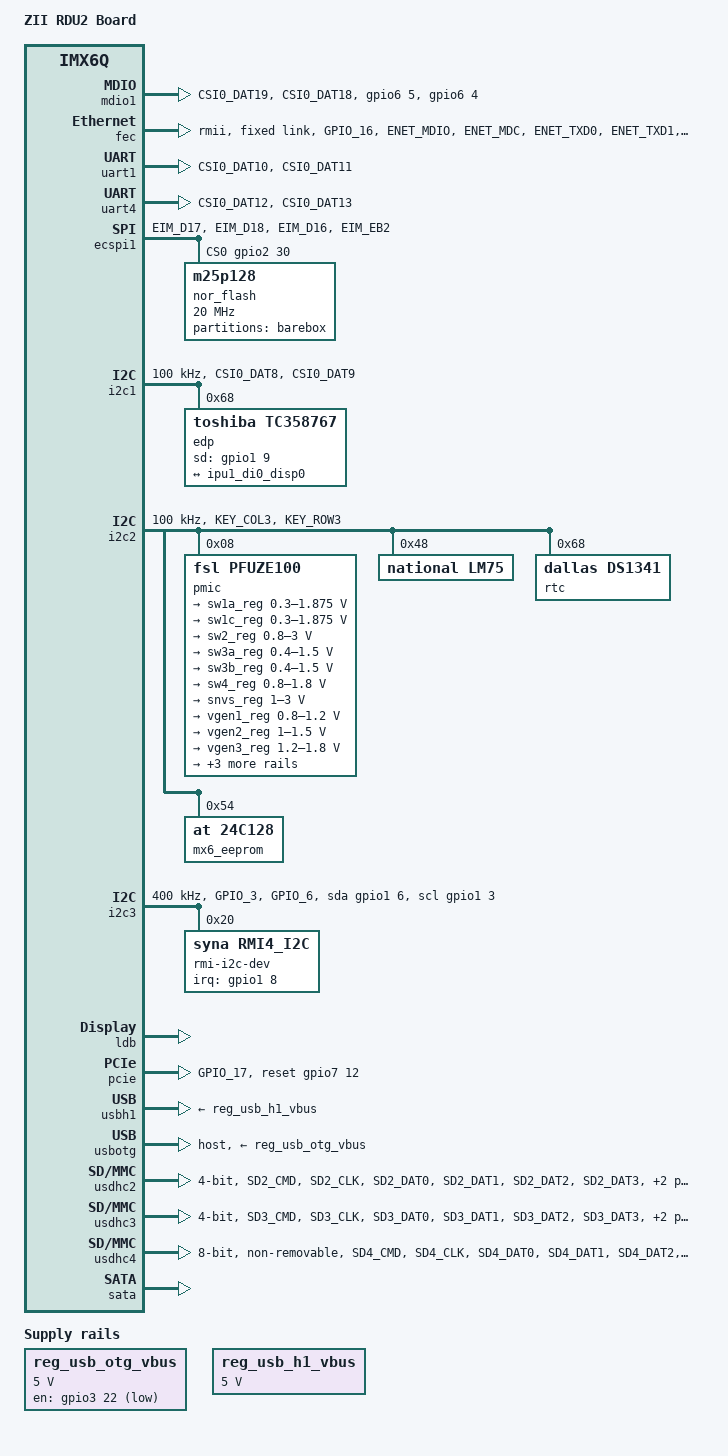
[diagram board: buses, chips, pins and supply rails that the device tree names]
/*
 * Copyright 2012 Freescale Semiconductor, Inc.
 * Copyright 2011 Linaro Ltd.
 *
 * The code contained herein is licensed under the GNU General Public
 * License. You may obtain a copy of the GNU General Public License
 * Version 2 or later at the following locations:
 *
 * http://www.opensource.org/licenses/gpl-license.html
 * http://www.gnu.org/copyleft/gpl.html
 */

/dts-v1/;

#include <dt-bindings/gpio/gpio.h>
#include <dt-bindings/input/input.h>

#include "imx6q.dtsi"

/ {
	model = "ZII RDU2 Board";
	compatible = "zii,imx6q-zii-rdu2", "fsl,imx6q-sabreauto", "fsl,imx6q";

	aliases {
		mdio-gpio0 = &mdio1;
	};

	chosen {
		linux,stdout-path = &uart1;
	};

	mdio1: mdio {
		compatible = "virtual,mdio-gpio";
		#address-cells = <1>;
		#size-cells = <0>;
		pinctrl-names = "default";
		pinctrl-0 = <&pinctrl_mdio1>;
		gpios = <&gpio6 5 GPIO_ACTIVE_HIGH
			 &gpio6 4 GPIO_ACTIVE_HIGH>;
	};

	regulators {
		compatible = "simple-bus";
		#address-cells = <1>;
		#size-cells = <0>;

		reg_usb_otg_vbus: regulator@0 {
			compatible = "regulator-fixed";
			reg = <0>;
			regulator-name = "usb_otg_vbus";
			regulator-min-microvolt = <5000000>;
			regulator-max-microvolt = <5000000>;
			gpio = <&gpio3 22 0>;
			regulator-always-on;
			enable-active-low;
		};

		reg_usb_h1_vbus: regulator@1 {
			compatible = "regulator-fixed";
			reg = <1>;
			regulator-name = "usb_h1_vbus";
			regulator-min-microvolt = <5000000>;
			regulator-max-microvolt = <5000000>;
		};
	};

	dsa@0 {
		compatible = "marvell,dsa";
		#address-cells = <2>;
		#size-cells = <0>;

		dsa,ethernet = <&fec>;
		dsa,mii-bus = <&mdio1>;

		switch0: switch@0 {
			#address-cells = <1>;
			#size-cells = <0>;
			reg = <0x00 0>;
			eeprom-length = <512>;

			port@0 {
				reg = <0>;
				label = "gigabit_proc";
			};

			port@1 {
				reg = <1>;
				label = "netaux";
			};

			port@2 {
				reg = <2>;
				label = "cpu";
			};

			port@3 {
				reg = <3>;
				label = "netright";
			};

			port@4 {
				reg = <4>;
				label = "netleft";
			};
		};
	};
};

&fec {
	pinctrl-names = "default";
	pinctrl-0 = <&pinctrl_enet>;
	phy-mode = "rmii";
	phy-reset-gpios = <&gpio1 23 0>;
	status = "okay";

	fixed-link {
	   speed = <100>;
	   full-duplex;
	};
};

&iomuxc {
	pinctrl-names = "default";

	imx6qdl-sabresd {
		pinctrl_hog: hoggrp {
			fsl,pins = <
				/* USB Charging Controller */
				MX6QDL_PAD_EIM_A25__GPIO5_IO02  	0x1b0b0 /*USB_ATT_DETn*/
				MX6QDL_PAD_EIM_D19__GPIO3_IO19  	0x1b0b0 /*USB_EMULATION*/
				MX6QDL_PAD_EIM_D20__GPIO3_IO20  	0x1b0b0 /*USB_MODE1*/
				MX6QDL_PAD_EIM_D21__GPIO3_IO21  	0x1b0b0 /*USB_ALERTn*/
				MX6QDL_PAD_EIM_D22__GPIO3_IO22  	0x1b0b0 /*USB_PWR_CTRL_ENn*/
				MX6QDL_PAD_EIM_D23__GPIO3_IO23  	0x1b0b0 /*USB_MODE2*/

				MX6QDL_PAD_GPIO_1__USB_OTG_ID		0x13020 /*USB_OTG_ID*/

				/* DAC */
				MX6QDL_PAD_GPIO_0__GPIO1_IO00		0x1b0b0 /*DAC1_RESET*/
				MX6QDL_PAD_GPIO_2__GPIO1_IO02		0x1b0b0 /*DAC2_RESET*/

				/* Need to Place */
				MX6QDL_PAD_EIM_D30__GPIO3_IO30		0x1b0b0 /*RMII_INTRPT*/
				MX6QDL_PAD_SD3_RST__GPIO7_IO08		0x1b8b0 /*SD_CARD_RESET - Open Drain Output*/

				/* Test Points */
				MX6QDL_PAD_SD3_DAT4__GPIO7_IO01		0x1b0b0 /*TP20*/
				MX6QDL_PAD_SD3_DAT5__GPIO7_IO00		0x1b0b0 /*TP21*/
				MX6QDL_PAD_SD3_DAT6__GPIO6_IO18		0x1b0b0 /*TP22*/
				MX6QDL_PAD_SD3_DAT7__GPIO6_IO17		0x1b0b0 /*TP23*/
				MX6QDL_PAD_KEY_ROW2__GPIO4_IO11		0x1b0b0 /*TP19*/
				MX6QDL_PAD_NANDF_CS1__GPIO6_IO14	0x1b0b0 /*TP26*/
				MX6QDL_PAD_NANDF_D4__GPIO2_IO04		0x1b0b0 /*TP27*/
				MX6QDL_PAD_NANDF_D5__GPIO2_IO05		0x1b0b0 /*TP28*/
				MX6QDL_PAD_NANDF_D6__GPIO2_IO06		0x1b0b0 /*TP29*/
				MX6QDL_PAD_NANDF_D7__GPIO2_IO07		0x1b0b0 /*TP30*/
				MX6QDL_PAD_EIM_BCLK__GPIO6_IO31		0x1b0b0 /*TP25*/
				MX6QDL_PAD_CSI0_MCLK__GPIO5_IO19	0x1b0b0 /*TP39*/
				MX6QDL_PAD_CSI0_PIXCLK__GPIO5_IO18	0x1b0b0 /*TP40*/
				MX6QDL_PAD_CSI0_VSYNC__GPIO5_IO21	0x1b0b0 /*TP42*/
				MX6QDL_PAD_CSI0_DATA_EN__GPIO5_IO20	0x1b0b0 /*TP43*/
				MX6QDL_PAD_CSI0_DAT14__GPIO6_IO00	0x1b0b0 /*TP44*/
				MX6QDL_PAD_CSI0_DAT15__GPIO6_IO01	0x1b0b0 /*TP45*/
				MX6QDL_PAD_CSI0_DAT16__GPIO6_IO02	0x1b0b0 /*TP46*/

				/* System Type */
				MX6QDL_PAD_EIM_D26__GPIO3_IO26		0x1b0b0 /*SYS_TYPE_3*/
				MX6QDL_PAD_EIM_D27__GPIO3_IO27		0x1b0b0 /*SYS_TYPE_2*/
				MX6QDL_PAD_EIM_D28__GPIO3_IO28		0x1b0b0 /*SYS_TYPE_1*/
				MX6QDL_PAD_EIM_D29__GPIO3_IO29		0x1b0b0 /*SYS_TYPE_0*/

				/* Boot Mode Selection Pins */
				MX6QDL_PAD_EIM_DA0__GPIO3_IO00		0x1b0b0 /*BT_CFG1_0*/
				MX6QDL_PAD_EIM_DA1__GPIO3_IO01		0x1b0b0 /*BT_CFG1_1*/
				MX6QDL_PAD_EIM_DA2__GPIO3_IO02		0x1b0b0 /*BT_CFG1_2*/
				MX6QDL_PAD_EIM_DA3__GPIO3_IO03		0x1b0b0 /*BT_CFG1_3*/
				MX6QDL_PAD_EIM_DA4__GPIO3_IO04		0x1b0b0 /*BT_CFG1_4*/
				MX6QDL_PAD_EIM_DA5__GPIO3_IO05		0x1b0b0 /*BT_CFG1_5*/
				MX6QDL_PAD_EIM_DA6__GPIO3_IO06		0x1b0b0 /*BT_CFG1_6*/
				MX6QDL_PAD_EIM_DA7__GPIO3_IO07		0x1b0b0 /*BT_CFG1_7*/

				MX6QDL_PAD_EIM_DA8__GPIO3_IO08		0x1b0b0 /*BT_CFG2_0*/
				MX6QDL_PAD_EIM_DA9__GPIO3_IO09		0x1b0b0 /*BT_CFG2_1*/
				MX6QDL_PAD_EIM_DA10__GPIO3_IO10		0x1b0b0 /*BT_CFG2_2*/
				MX6QDL_PAD_EIM_DA11__GPIO3_IO11		0x1b0b0 /*BT_CFG2_3*/
				MX6QDL_PAD_EIM_DA12__GPIO3_IO12		0x1b0b0 /*BT_CFG2_4*/
				MX6QDL_PAD_EIM_DA13__GPIO3_IO13		0x1b0b0 /*BT_CFG2_5*/
				MX6QDL_PAD_EIM_DA14__GPIO3_IO14		0x1b0b0 /*BT_CFG2_6*/
				MX6QDL_PAD_EIM_DA15__GPIO3_IO15		0x1b0b0 /*BT_CFG2_7*/

				MX6QDL_PAD_EIM_A16__GPIO2_IO22		0x1b0b0 /*BT_CFG3_0*/
				MX6QDL_PAD_EIM_A17__GPIO2_IO21		0x1b0b0 /*BT_CFG3_1*/
				MX6QDL_PAD_EIM_A18__GPIO2_IO20		0x1b0b0 /*BT_CFG3_2*/
				MX6QDL_PAD_EIM_A19__GPIO2_IO19		0x1b0b0 /*BT_CFG3_3*/
				MX6QDL_PAD_EIM_A20__GPIO2_IO18		0x1b0b0 /*BT_CFG3_4*/
				MX6QDL_PAD_EIM_A21__GPIO2_IO17		0x1b0b0 /*BT_CFG3_5*/
				MX6QDL_PAD_EIM_A22__GPIO2_IO16		0x1b0b0 /*BT_CFG3_6*/
				MX6QDL_PAD_EIM_A23__GPIO6_IO06		0x1b0b0 /*BT_CFG3_7*/

				MX6QDL_PAD_EIM_A24__GPIO5_IO04		0x1b0b0 /*BT_CFG4_0*/
				MX6QDL_PAD_EIM_WAIT__GPIO5_IO00		0x1b0b0 /*BT_CFG4_1*/
				MX6QDL_PAD_EIM_LBA__GPIO2_IO27		0x1b0b0 /*BT_CFG4_2*/
				MX6QDL_PAD_EIM_EB0__GPIO2_IO28		0x1b0b0 /*BT_CFG4_3*/
				MX6QDL_PAD_EIM_EB1__GPIO2_IO29		0x1b0b0 /*BT_CFG4_4*/
				MX6QDL_PAD_EIM_RW__GPIO2_IO26		0x1b0b0 /*BT_CFG4_5*/
				MX6QDL_PAD_EIM_EB3__GPIO2_IO31		0x1b0b0 /*BT_CFG4_7*/
			>;
		};

		pinctrl_mdio1: bitbangmdiogrp {
			fsl,pins = <
				/* Bitbang MDIO for DEB Switch */
				MX6QDL_PAD_CSI0_DAT19__GPIO6_IO05	0x1b030 /*SWITCH_MDC*/
				MX6QDL_PAD_CSI0_DAT18__GPIO6_IO04	0x18830 /*SWITCH_MDIO*/
			>;
		};


		pinctrl_ecspi1: ecspi1grp {
			fsl,pins = <
				/*MX6QDL_PAD_EIM_D17__GPIO3_IO17	0x1b0b0*/
				MX6QDL_PAD_EIM_D17__ECSPI1_MISO 0x100b1
				MX6QDL_PAD_EIM_D18__ECSPI1_MOSI 0x100b1
				MX6QDL_PAD_EIM_D16__ECSPI1_SCLK 0x100b1
				/*MX6QDL_PAD_EIM_EB2__ECSPI1_SS0	0x100b1*/
				MX6QDL_PAD_EIM_EB2__GPIO2_IO30	0x1b0b1
				/*MX6QDL_PAD_KEY_COL2__ECSPI1_SS1	0x1b0b1
				MX6QDL_PAD_KEY_COL2__GPIO4_IO10*/
			>;
		};

		pinctrl_enet: enetgrp {
			fsl,pins = <
				MX6QDL_PAD_GPIO_16__ENET_REF_CLK 	0x4001b0a8
				MX6QDL_PAD_ENET_MDIO__ENET_MDIO		0x1b0b0
				MX6QDL_PAD_ENET_MDC__ENET_MDC		0x1b0b0
				MX6QDL_PAD_ENET_TXD0__ENET_TX_DATA0 0x1b0b0
				MX6QDL_PAD_ENET_TXD1__ENET_TX_DATA1 0x1b0b0
				MX6QDL_PAD_ENET_TX_EN__ENET_TX_EN   0x1b0b0
				MX6QDL_PAD_ENET_RX_ER__ENET_RX_ER   0x1b0b0
				MX6QDL_PAD_ENET_RXD0__ENET_RX_DATA0 0x1b0b0
				MX6QDL_PAD_ENET_RXD1__ENET_RX_DATA1 0x1b0b0
				MX6QDL_PAD_ENET_CRS_DV__ENET_RX_EN  0x1b0b0

				MX6QDL_PAD_ENET_REF_CLK__GPIO1_IO23	0x1b0b0
			>;
		};

		pinctrl_ssi2: ssi3grp {
			fsl,pins = <
				MX6QDL_PAD_KEY_COL0__AUD5_TXC		0x130b0
				MX6QDL_PAD_KEY_ROW0__AUD5_TXD		0x130b0
				MX6QDL_PAD_KEY_COL1__AUD5_TXFS		0x130b0
			>;
		};

		pinctrl_i2c1: i2c1grp {
			fsl,pins = <
				MX6QDL_PAD_CSI0_DAT8__I2C1_SDA		0x4001b8b1
				MX6QDL_PAD_CSI0_DAT9__I2C1_SCL		0x4001b8b1
			>;
		};

		pinctrl_i2c2: i2c2grp {
			fsl,pins = <
				MX6QDL_PAD_KEY_COL3__I2C2_SCL		0x4001b8b1
				MX6QDL_PAD_KEY_ROW3__I2C2_SDA		0x4001b8b1
			>;
		};

		pinctrl_i2c3: i2c3grp {
			fsl,pins = <
				MX6QDL_PAD_GPIO_3__I2C3_SCL			0x4001b8b1
				MX6QDL_PAD_GPIO_6__I2C3_SDA			0x4001b8b1
			>;
		};

		pinctrl_i2c3_gpio: i2c3grp_gpio {
			fsl,pins = <
				MX6QDL_PAD_GPIO_3__GPIO1_IO03		0x1b0b1
				MX6QDL_PAD_GPIO_6__GPIO1_IO06		0x1b0b1
			>;
		};

		pinctrl_pcie: pciegrp {
			fsl,pins = <
				MX6QDL_PAD_GPIO_17__GPIO7_IO12	0x1b0b0
			>;
		};

		pinctrl_uart1: uart1grp {
			fsl,pins = <
				MX6QDL_PAD_CSI0_DAT10__UART1_TX_DATA	0x1b0b1
				MX6QDL_PAD_CSI0_DAT11__UART1_RX_DATA	0x1b0b1
			>;
		};

		pinctrl_uart3: uart3grp {
			fsl,pins = <
				MX6QDL_PAD_EIM_D24__UART3_TX_DATA	0x1b0b1
				MX6QDL_PAD_EIM_D25__UART3_RX_DATA	0x1b0b1
			>;
		};

		pinctrl_uart4: uart4grp {
			fsl,pins = <
				MX6QDL_PAD_CSI0_DAT12__UART4_TX_DATA	0x1b0b1
				MX6QDL_PAD_CSI0_DAT13__UART4_RX_DATA	0x1b0b1
			>;
		};

		pinctrl_usdhc2: usdhc2grp {
			fsl,pins = <
				MX6QDL_PAD_SD2_CMD__SD2_CMD		0x17069
				MX6QDL_PAD_SD2_CLK__SD2_CLK		0x17069
				MX6QDL_PAD_SD2_DAT0__SD2_DATA0		0x17069
				MX6QDL_PAD_SD2_DAT1__SD2_DATA1		0x17069
				MX6QDL_PAD_SD2_DAT2__SD2_DATA2		0x17069
				MX6QDL_PAD_SD2_DAT3__SD2_DATA3		0x17069
			>;
		};

		pinctrl_usdhc3: usdhc3grp {
			fsl,pins = <
				MX6QDL_PAD_SD3_CMD__SD3_CMD		0x17069
				MX6QDL_PAD_SD3_CLK__SD3_CLK		0x17069
				MX6QDL_PAD_SD3_DAT0__SD3_DATA0		0x17069
				MX6QDL_PAD_SD3_DAT1__SD3_DATA1		0x17069
				MX6QDL_PAD_SD3_DAT2__SD3_DATA2		0x17069
				MX6QDL_PAD_SD3_DAT3__SD3_DATA3		0x17069
			>;
		};

		pinctrl_usdhc4: usdhc4grp {
			fsl,pins = <
				MX6QDL_PAD_SD4_CMD__SD4_CMD		0x17059
				MX6QDL_PAD_SD4_CLK__SD4_CLK		0x10059
				MX6QDL_PAD_SD4_DAT0__SD4_DATA0		0x17059
				MX6QDL_PAD_SD4_DAT1__SD4_DATA1		0x17059
				MX6QDL_PAD_SD4_DAT2__SD4_DATA2		0x17059
				MX6QDL_PAD_SD4_DAT3__SD4_DATA3		0x17059
				MX6QDL_PAD_SD4_DAT4__SD4_DATA4		0x17059
				MX6QDL_PAD_SD4_DAT5__SD4_DATA5		0x17059
				MX6QDL_PAD_SD4_DAT6__SD4_DATA6		0x17059
				MX6QDL_PAD_SD4_DAT7__SD4_DATA7		0x17059
				MX6QDL_PAD_NANDF_ALE__SD4_RESET		0x1b0b1
			>;
		};

		pinctrl_ts: tsgrp {
			fsl,pins = <
				MX6QDL_PAD_GPIO_8__GPIO1_IO08		0x1b0b0 /* INT_TOUCH# */
				MX6QDL_PAD_GPIO_7__GPIO1_IO07		0x1b0b0 /* RST_TOUCH# */
			>;
		};

		pinctrl_rgb_disp: j15grp {
			fsl,pins = <
				MX6QDL_PAD_DI0_DISP_CLK__IPU1_DI0_DISP_CLK 0x100f9
				MX6QDL_PAD_DI0_PIN15__IPU1_DI0_PIN15       0x100f9
				MX6QDL_PAD_DI0_PIN2__IPU1_DI0_PIN02        0x100f9
				MX6QDL_PAD_DI0_PIN3__IPU1_DI0_PIN03        0x100f9
				MX6QDL_PAD_DISP0_DAT0__IPU1_DISP0_DATA00   0x100f9
				MX6QDL_PAD_DISP0_DAT1__IPU1_DISP0_DATA01   0x100f9
				MX6QDL_PAD_DISP0_DAT2__IPU1_DISP0_DATA02   0x100f9
				MX6QDL_PAD_DISP0_DAT3__IPU1_DISP0_DATA03   0x100f9
				MX6QDL_PAD_DISP0_DAT4__IPU1_DISP0_DATA04   0x100f9
				MX6QDL_PAD_DISP0_DAT5__IPU1_DISP0_DATA05   0x100f9
				MX6QDL_PAD_DISP0_DAT6__IPU1_DISP0_DATA06   0x100f9
				MX6QDL_PAD_DISP0_DAT7__IPU1_DISP0_DATA07   0x100f9
				MX6QDL_PAD_DISP0_DAT8__IPU1_DISP0_DATA08   0x100f9
				MX6QDL_PAD_DISP0_DAT9__IPU1_DISP0_DATA09   0x100f9
				MX6QDL_PAD_DISP0_DAT10__IPU1_DISP0_DATA10  0x100f9
				MX6QDL_PAD_DISP0_DAT11__IPU1_DISP0_DATA11  0x100f9
				MX6QDL_PAD_DISP0_DAT12__IPU1_DISP0_DATA12  0x100f9
				MX6QDL_PAD_DISP0_DAT13__IPU1_DISP0_DATA13  0x100f9
				MX6QDL_PAD_DISP0_DAT14__IPU1_DISP0_DATA14  0x100f9
				MX6QDL_PAD_DISP0_DAT15__IPU1_DISP0_DATA15  0x100f9
				MX6QDL_PAD_DISP0_DAT16__IPU1_DISP0_DATA16  0x100f9
				MX6QDL_PAD_DISP0_DAT17__IPU1_DISP0_DATA17  0x100f9
				MX6QDL_PAD_DISP0_DAT18__IPU1_DISP0_DATA18  0x100f9
				MX6QDL_PAD_DISP0_DAT19__IPU1_DISP0_DATA19  0x100f9
				MX6QDL_PAD_DISP0_DAT20__IPU1_DISP0_DATA20  0x100f9
				MX6QDL_PAD_DISP0_DAT21__IPU1_DISP0_DATA21  0x100f9
				MX6QDL_PAD_DISP0_DAT22__IPU1_DISP0_DATA22  0x100f9
				MX6QDL_PAD_DISP0_DAT23__IPU1_DISP0_DATA23  0x100f9
				/* SD pin */
				MX6QDL_PAD_GPIO_9__GPIO1_IO09              0x10
			>;
		};
	};
};

&uart1 {
	pinctrl-names = "default";
	pinctrl-0 = <&pinctrl_uart1>;
	status = "okay";
};

&uart4 {
	pinctrl-names = "default";
	pinctrl-0 = <&pinctrl_uart4>;
	status = "okay";
};

&ecspi1 {
	fsl,spi-num-chipselects = <1>;
	cs-gpios = <&gpio2 30 0>;
	pinctrl-names = "default";
	pinctrl-0 = <&pinctrl_ecspi1>;
	status = "okay";

	nor_flash: m25p128@0 {
		#address-cells = <1>;
		#size-cells = <1>;
		compatible = "m25p128";
		spi-max-frequency = <20000000>;
		reg = <0>;

		partition@0 {
			label = "barebox";
			reg = <0x0 0x100000>;
		};
	};
};

&i2c1 {
	clock-frequency = <100000>;
	pinctrl-names = "default";
	pinctrl-0 = <&pinctrl_i2c1>;
	status = "okay";

	edp: tc358767@0x68 {
		#address-cells = <1>;
		#size-cells = <0>;
		compatible = "toshiba,tc358767";
		reg = <0x68>;
		pinctrl-names = "default";
		pinctrl-0 = <&pinctrl_rgb_disp>;
		sd-gpios = <&gpio1 9 0>;

		ports  {
			#address-cells = <1>;
			#size-cells = <0>;

			port@0 {
				reg = <0>;
				tc358767_in: endpoint {
					remote-endpoint = <&ipu1_di0_disp0>;
				};
			};
		};
	};
};

&tempmon {
	barebox,sensor-name = "TEMPMON";
};

&i2c2 {
	clock-frequency = <100000>;
	pinctrl-names = "default";
	pinctrl-0 = <&pinctrl_i2c2>;
	status = "okay";

	pmic: pfuze100@08 {
		compatible = "fsl,pfuze100";
		reg = <0x08>;

		regulators {
			/* VDDCORE */
			sw1a_reg: sw1ab {
				regulator-min-microvolt = <300000>;
				regulator-max-microvolt = <1875000>;
				regulator-boot-on;
				regulator-always-on;
				regulator-ramp-delay = <6250>;
			};

			/* VDDSOC */
			sw1c_reg: sw1c {
				regulator-min-microvolt = <300000>;
				regulator-max-microvolt = <1875000>;
				regulator-boot-on;
				regulator-always-on;
				regulator-ramp-delay = <6250>;
			};

			/* VDDHIGH_3V0 */
			sw2_reg: sw2 {
				regulator-min-microvolt = <800000>;
				regulator-max-microvolt = <3000000>;
				regulator-boot-on;
				regulator-always-on;
			};

			/* DDR_1V5 */
			sw3a_reg: sw3a {
				regulator-min-microvolt = <400000>;
				regulator-max-microvolt = <1500000>;
				regulator-boot-on;
				regulator-always-on;
			};

			/* DDR_1V5 */
			sw3b_reg: sw3b {
				regulator-min-microvolt = <400000>;
				regulator-max-microvolt = <1500000>;
				regulator-boot-on;
				regulator-always-on;
			};

			/* VGEN_1V8 */
			sw4_reg: sw4 {
				regulator-min-microvolt = <800000>;
				regulator-max-microvolt = <1800000>;
			};

			/* VSNVS_3V0 */
			snvs_reg: vsnvs {
				regulator-min-microvolt = <1000000>;
				regulator-max-microvolt = <3000000>;
				regulator-boot-on;
				regulator-always-on;
			};

			vref_reg: vrefddr {
				regulator-boot-on;
				regulator-always-on;
			};

			/* VGEN1_1V2 */
			vgen1_reg: vgen1 {
				regulator-min-microvolt = <800000>;
				regulator-max-microvolt = <1200000>;
			};

			/* VGEN2_1V5 */
			vgen2_reg: vgen2 {
				regulator-min-microvolt = <1000000>;
				regulator-max-microvolt = <1500000>;
			};

			/* VGEN3_1V8 */
			vgen3_reg: vgen3 {
				regulator-min-microvolt = <1200000>;
				regulator-max-microvolt = <1800000>;
			};

			/* VGEN4_1V8 */
			vgen4_reg: vgen4 {
				regulator-min-microvolt = <1200000>;
				regulator-max-microvolt = <1800000>;
				regulator-always-on;
			};

			/* VGEN5_2V5 */
			vgen5_reg: vgen5 {
				regulator-min-microvolt = <1800000>;
				regulator-max-microvolt = <2500000>;
				regulator-always-on;
			};

			/* VGEN6_2V8 */
			vgen6_reg: vgen6 {
				regulator-min-microvolt = <1800000>;
				regulator-max-microvolt = <2800000>;
				regulator-always-on;
			};
		};
	};

	lm75@48 {
		compatible = "national,lm75";
		reg = <0x48>;
		barebox,sensor-name = "Temp Sensor 1";
	};

	rtc: ds1341@68 {
		compatible = "dallas,ds1341";
		reg = <0x68>;
	};

	mx6_eeprom: at24@54 {
		compatible = "at,24c128";
		pagesize = <32>; /* TODO: VERIFY PAGE SIZE */
		reg = <0x54>;
	};
};

&i2c3 {
	clock-frequency = <400000>;
	pinctrl-names = "default", "gpio";
	pinctrl-0 = <&pinctrl_i2c3>;
	pinctrl-1 = <&pinctrl_i2c3_gpio>;
	scl-gpios = <&gpio1 3 GPIO_ACTIVE_HIGH>;
	sda-gpios = <&gpio1 6 GPIO_ACTIVE_HIGH>;
	status = "okay";

	rmi-i2c-dev@20 {
		compatible = "syna,rmi4_i2c";
		reg = <0x20>;
		#address-cells = <1>;
		#size-cells = <0>;
		pinctrl-names = "default";
		pinctrl-0 = <&pinctrl_ts>;

		interrupt-parent = <&gpio1>;
		interrupts = <8 IRQ_TYPE_EDGE_FALLING>;

		rmi4-f01@1 {
			reg = <0x1>;
			syna,nosleep-mode = <1>;
		};

                rmi4-f11@11 {
			reg = <0x11>;
			touchscreen-inverted-y;
			touchscreen-swapped-x-y;
			syna,sensor-type = <1>;
                };
        };
};

&ipu1_di0_disp0 {
	remote-endpoint = <&tc358767_in>;
};

&ldb {
	status = "okay";
};

&pcie {
	pinctrl-names = "default";
	pinctrl-0 = <&pinctrl_pcie>;
	reset-gpio = <&gpio7 12 0>;
	status = "okay";
};

&usbh1 {
	vbus-supply = <&reg_usb_h1_vbus>;
	status = "okay";
};

&usbotg {
	vbus-supply = <&reg_usb_otg_vbus>;
	disable-over-current;
	dr_mode = "host";
	status = "okay";
};

&usdhc2 {
	pinctrl-names = "default";
	pinctrl-0 = <&pinctrl_usdhc2>;
	bus-width = <4>;
	cd-gpios = <&gpio2 2 GPIO_ACTIVE_LOW>;
	wp-gpios = <&gpio2 3 GPIO_ACTIVE_HIGH>;
	status = "okay";
};

&usdhc3 {
	pinctrl-names = "default";
	pinctrl-0 = <&pinctrl_usdhc3>;
	bus-width = <4>;
	cd-gpios = <&gpio2 0 GPIO_ACTIVE_LOW>;
	wp-gpios = <&gpio2 1 GPIO_ACTIVE_HIGH>;
	status = "okay";
};

&usdhc4 {
	pinctrl-names = "default";
	pinctrl-0 = <&pinctrl_usdhc4>;
	bus-width = <8>;
	non-removable;
	no-1-8-v;
	status = "okay";
};

&sata {
	status = "okay";
};

&ocotp {
	barebox,provide-mac-address = <&fec 0x620>;
};

&fec {
	pinctrl-names = "default";
	pinctrl-0 = <&pinctrl_enet>;
	phy-mode = "rmii";
	phy-reset-gpios = <&gpio1 23 0>;
	status = "okay";
};
